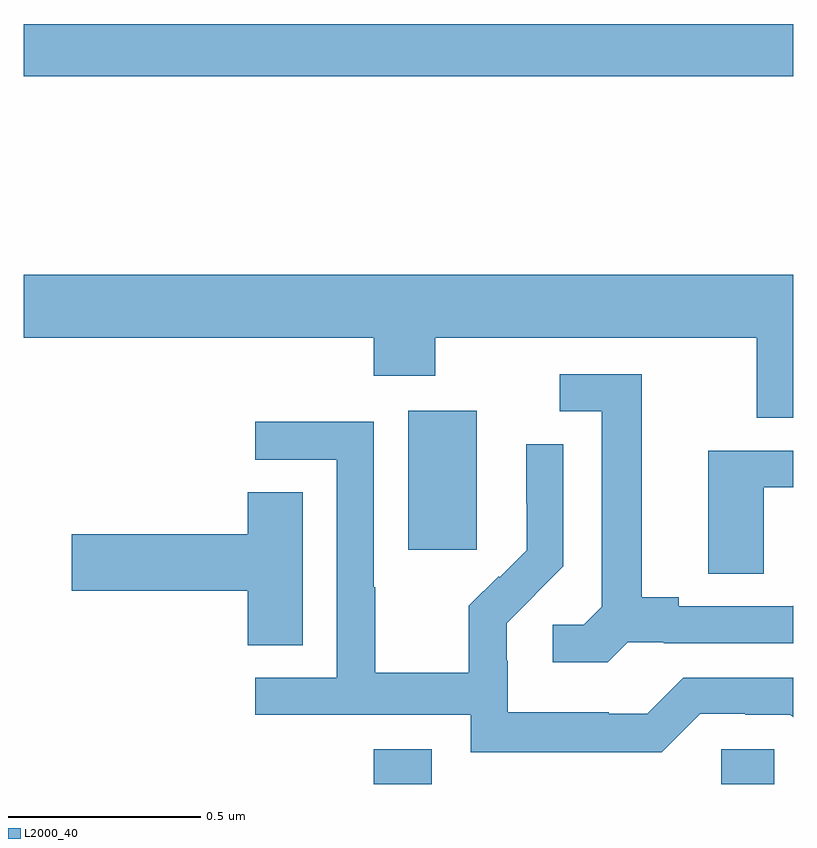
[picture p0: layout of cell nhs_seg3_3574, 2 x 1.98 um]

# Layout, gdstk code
import gdstk
lib = gdstk.Library(unit=1e-6, precision=1e-09)
def R(c, l, rs):  # rectangles x0, y0, x1, y1
    for r in rs: c.add(gdstk.rectangle(r[:2], r[2:], *l))
def P(c, l, *ps):  # polygons
    for p in ps: c.add(gdstk.Polygon(p, *l))
L2000_40 = (2000, 40)

nhs_seg3_3574 = lib.new_cell('nhs_seg3_3574')
R(nhs_seg3_3574, L2000_40, [(155.909,722.4,156.061,722.491), (156.813,722.4,156.951,722.49), (155.999,723.009,156.178,723.37), (155,724.24,157,724.376)])
P(nhs_seg3_3574, L2000_40, [(157,723.724),(155,723.724),(155,723.56),(155.909,723.56),(155.909,723.461),(156.069,723.461),(156.069,723.56),(156.905,723.56),(156.905,723.352),(157,723.352)],
  [(156.57,722.769),(156.664,722.769),(156.664,722.766),(157,722.766),(157,722.864),(156.998,722.862),(156.703,722.862),(156.703,722.885),(156.607,722.885),(156.607,723.465),(156.393,723.465),(156.393,723.369),(156.503,723.369),(156.503,722.861),(156.456,722.814),(156.375,722.814),(156.375,722.717),(156.518,722.717)],
  [(156.759,722.583),(156.875,722.583),(156.875,722.58),(156.993,722.58),(157,722.573),(157,722.676),(156.714,722.676),(156.621,722.583),(156.521,722.583),(156.521,722.587),(156.258,722.587),(156.258,722.721),(156.256,722.721),(156.256,722.818),(156.33,722.892),(156.329,722.893),(156.402,722.966),(156.402,723.284),(156.306,723.284),(156.306,723.13),(156.308,723.13),(156.308,723.008),(156.237,722.937),(156.234,722.94),(156.157,722.863),(156.157,722.689),(155.913,722.689),(155.913,722.912),(155.91,722.912),(155.91,723.342),(155.601,723.342),(155.601,723.243),(155.814,723.243),(155.814,722.676),(155.601,722.676),(155.601,722.58),(156.162,722.58),(156.162,722.483),(156.659,722.483)],
  [(156.924,723.171),(157,723.171),(157,723.267),(156.779,723.267),(156.779,722.947),(156.924,722.947)],
  [(155.725,723.158),(155.582,723.158),(155.582,723.05),(155.124,723.05),(155.124,722.903),(155.582,722.903),(155.582,722.761),(155.725,722.761)])

lib.write_gds('nhs_seg3_3574.gds')
